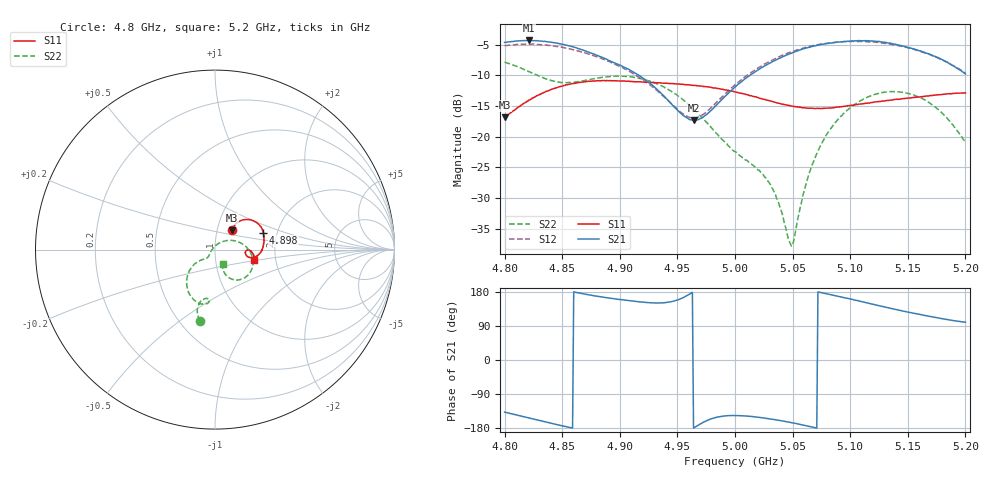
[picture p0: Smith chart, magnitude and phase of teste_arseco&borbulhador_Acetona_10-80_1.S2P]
! Network Analyzer HP8722D
! Hewlett-Packard
! Data name: Linha & Wilkinson
! Saver's name: Rodrigo Anjos
! Comments: Teste da utilização de aquisição
! continua pelo VNA HP8722D
! Time and date: 25/4/2025 15:16
!  Frequency  S11  S21  S12  S22
# HZ  S  MA R 50
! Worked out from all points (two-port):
!   401 points, 4.8 GHz to 5.2 GHz, reference 50 ohm
!   highest |S21| = -4.30 dB at 4.821 GHz (marker M1); lowest = -17.3 dB at 4.964 GHz (marker M2)
!   |S21| within 3 dB of the highest: start of sweep to 4.888 GHz; 5.038 GHz to 5.178 GHz (140.9 MHz wide, 2.76 % of centre)
!   lowest |S11| = -16.8 dB at 4.8 GHz (marker M3), VSWR 1.34, Z = 59.1 + j12.9 ohm
!   |S11| at or under -10 dB: start of sweep to end of sweep
!   |S22| runs from -37.9 to -7.8 dB; largest |S21 - S12| = 0.066
!   S11 on the Smith chart (normalised r, x): 4.8 GHz: 1.18, +0.26; 4.898 GHz: 1.70, +0.34; 5.2 GHz: 1.55, -0.19
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4.8e9  0.1438 48.1  0.5874 -137.7  0.5529 -133.6  0.4053 -101.9
4.821e9  0.1983 50.2  0.6095 -152.7  0.5683 -148.4  0.3392 -106.7
4.844e9  0.2486 42.2  0.5827 -169.5  0.5465 -164.0  0.2821 -102.6
4.867e9  0.278 31.8  0.5126 175.4  0.4912 -178.3  0.2846 -96.3
4.898e9  0.285 18.9  0.3911 160.4  0.3819 165.6  0.3124 -104.1
4.934e9  0.2753 8.0  0.2345 150.4  0.2309 157.2  0.2648 -125.6
4.964e9  0.2622 0.0  0.1364 -179.6  0.1423 -173.9  0.1687 -142.2
4.975e9  0.2555 -3.3  0.151 -160.7  0.1587 -156.1  0.1318 -144.9
5e9  0.2318 -9.4  0.2538 -146.6  0.2647 -143.9  0.07552 -138.0
5.03e9  0.1963 -12.9  0.3975 -155.3  0.4111 -153.6  0.04177 -139.2
5.037e9  0.1883 -12.6  0.4293 -158.6  0.4435 -157.3  0.0299 -148.7
5.047e9  0.1796 -11.1  0.4725 -164.1  0.4855 -163.2  0.01416 160.5
5.049e9  0.1777 -10.6  0.4789 -165.4  0.4924 -164.2  0.01279 137.3
5.051e9  0.1762 -10.3  0.4879 -166.4  0.4986 -165.7  0.01419 114.9
5.06e9  0.172 -8.2  0.5229 -172.0  0.5304 -171.4  0.036 63.9
5.067e9  0.1704 -6.3  0.5456 -176.8  0.5525 -176.1  0.05892 48.0
5.08e9  0.171 -3.6  0.5758 174.6  0.5787 175.1  0.1054 29.1
5.096e9  0.1776 -1.2  0.598 163.8  0.596 164.2  0.1598 10.2
5.114e9  0.1873 -1.0  0.6071 151.1  0.5952 152.1  0.208 -9.4
5.134e9  0.1983 -2.1  0.5797 137.0  0.5684 138.6  0.2328 -30.1
5.169e9  0.216 -7.3  0.4713 115.2  0.4684 117.1  0.1882 -60.7
5.2e9  0.2277 -15.0  0.3249 99.7  0.3286 102.0  0.09029 -60.3
